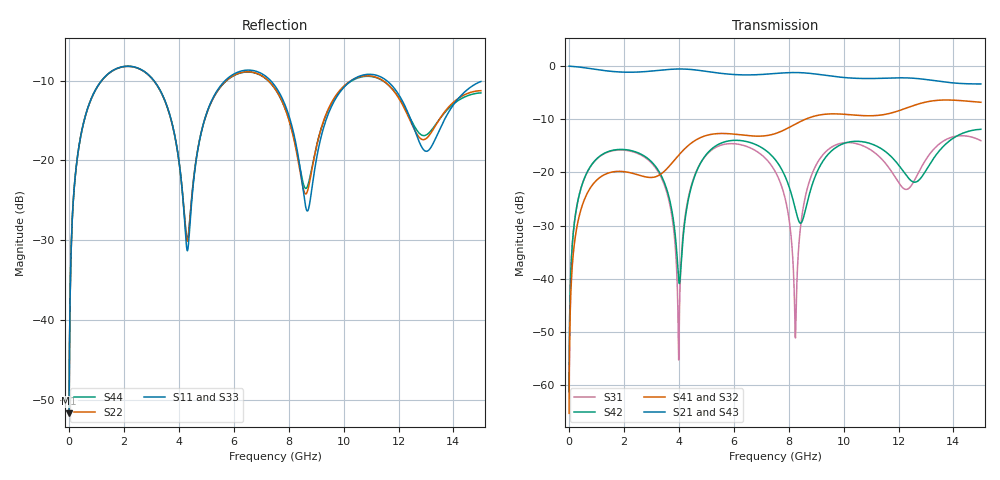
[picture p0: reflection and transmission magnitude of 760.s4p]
! Created with skrf 1.8.0 (http://scikit-rf.org).
# GHz S RI R 50.0
!freq ReS11 ImS11 ReS12 ImS12 ReS13 ImS13
! ReS14 ImS14
! ReS21 ImS21 ReS22 ImS22 ReS23 ImS23
! ReS24 ImS24
! ReS31 ImS31 ReS32 ImS32 ReS33 ImS33
! ReS34 ImS34
! ReS41 ImS41 ReS42 ImS42 ReS43 ImS43
! ReS44 ImS44
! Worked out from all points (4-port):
!   2499 points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, 5 MHz to 15 GHz, reference 50 ohm
!   strongest paths, dB at 5 MHz, 3.476 GHz, 7.19 GHz, 11.1 GHz, 15 GHz:
!     S21: 0.0, -0.7, -1.5, -2.3, -3.4
!     S43: 0.0, -0.7, -1.5, -2.3, -3.4
!     S41: -65.3, -19.8, -13.1, -9.3, -6.8
!     S32: -65.3, -19.8, -13.2, -9.4, -6.9
!     S42: -61.3, -21.9, -15.9, -14.8, -11.9
!     S31: -61.3, -22.4, -17.5, -16.2, -14.0
!   lowest |S11| = -51.7 dB at 5 MHz (marker M1), VSWR 1.01, Z = 50.2 + j0.158 ohm
!   |S11| at or under -10 dB: 3.095 GHz to 5.684 GHz (2.588 GHz wide, 59 % of centre); 7.344 GHz to 10.28 GHz (2.934 GHz wide, 33.3 % of centre); 11.57 GHz to end of sweep (the widest 3 of 4)
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0.005  0.00207 0.00157  0.9979 -0.00403  0.000107 0.000858  -0.000104 -0.000533
       0.9979 -0.00403  0.00207 0.00157  -0.000104 -0.000533  0.000107 0.000858
       0.000107 0.000858  -0.000104 -0.000533  0.00207 0.00157  0.9979 -0.00403
       -0.000104 -0.000533  0.000107 0.000858  0.9979 -0.00403  0.00207 0.00157
1.269279  0.2811 0.1709  0.5249 -0.7412  0.1353 0.0634  -0.0946 -0.0018
          0.5249 -0.7412  0.28 0.1717  -0.0944 -0.00205  0.1385 0.0588
          0.1353 0.0634  -0.0944 -0.00205  0.2812 0.1708  0.5249 -0.7412
          -0.0946 -0.0018  0.1385 0.0588  0.5249 -0.7412  0.2799 0.1718
3.990909  0.0474 -0.0918  -0.8894 -0.2999  -0.00162 -0.000888  -0.04 0.1392
          -0.8894 -0.2999  0.0512 -0.0891  -0.0435 0.1381  -0.00876 -0.00513
          -0.00162 -0.000888  -0.0435 0.1381  0.0465 -0.0923  -0.8894 -0.2999
          -0.04 0.1392  -0.00876 -0.00513  -0.8894 -0.2999  0.0522 -0.0889
5.095873  0.1498 0.1562  -0.7719 0.4318  0.1178 0.0999  0.1448 0.1732
          -0.7719 0.4318  0.1505 0.1536  0.1402 0.176  0.1275 0.0919
          0.1178 0.0999  0.1402 0.176  0.1501 0.157  -0.7718 0.4319
          0.1448 0.1732  0.1275 0.0919  -0.7718 0.4319  0.1503 0.1528
8.240934  0.0807 -0.1059  0.7689 0.4055  -0.00271 -0.000885  0.1183 -0.2585
          0.7689 0.4055  0.0881 -0.0869  0.1315 -0.2519  -0.0358 -0.0281
          -0.00271 -0.000885  0.1315 -0.2519  0.0774 -0.1088  0.7688 0.4053
          0.1183 -0.2585  -0.0358 -0.0281  0.7688 0.4053  0.093 -0.0855
8.684869  0.0482 -0.00139  0.8494 0.1238  0.0221 0.0681  0.0288 -0.3207
          0.8494 0.1238  0.0627 0.0141  0.0449 -0.319  -0.00842 0.0526
          0.0221 0.0681  0.0449 -0.319  0.0442 -0.00181  0.8493 0.1236
          0.0288 -0.3207  -0.00842 0.0526  0.8493 0.1236  0.0677 0.0127
15  0.3114 0.0276  -0.3194 0.5992  0.1957 -0.0358  0.4413 0.1178
    -0.3194 0.5992  0.2738 -0.00264  0.4247 0.1523  0.2205 -0.1268
    0.1957 -0.0358  0.4247 0.1523  0.3224 0.0269  -0.3171 0.5995
    0.4413 0.1178  0.2205 -0.1268  -0.3171 0.5995  0.2652 0.00205
